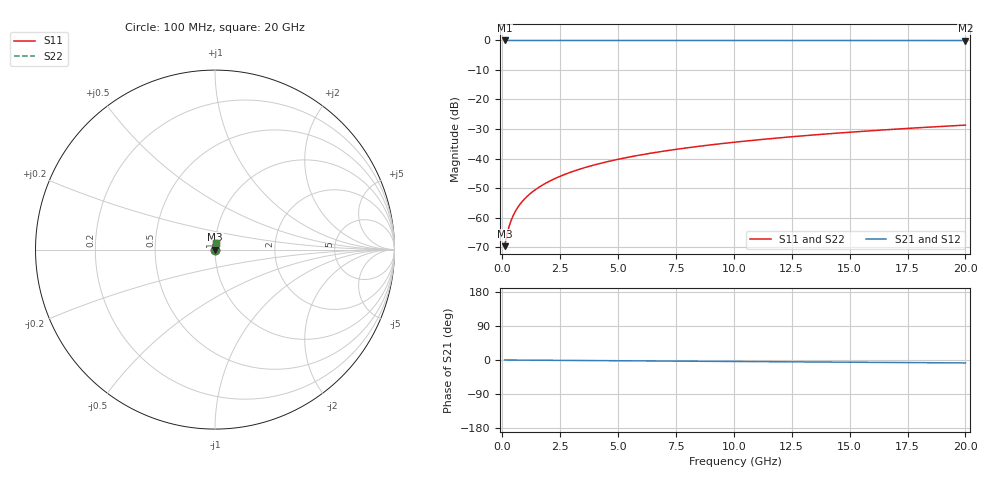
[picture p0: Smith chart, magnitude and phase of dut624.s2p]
! Touchstone file exported from HFSS 2026.1.0
!  File:  C:/ffzhzh/LocalFiles/Ansys_Project_Files/temp_train_TSV_624_1783026002_51716.aedt
!  Generated:  05:02:22 AM Jul  3, 2026
!  Design:  TSV
!  Project:  temp_train_TSV_624_1783026002_51716
! Variables:
!  h_bsmrdl = 2um
!  h_ox = 20um
!  h_rdl = 5um
!  h_sub = 74.03um
!  h_tmrdl = 5um
!  h_tsv = 74.03um
!  h_via = 3um
!  l_bsmrdl = 300um
!  l_sub = 413.02um
!  l_tmrdl = 200um
!  m_sub = 200um
!  pitch = 37.87um
!  r_tsv = 6.51um
!  s_tmrdl = 10um
!  w_bsmrdl = 18um
!  w_sub = 500um
!  w_tmrdl = 12um
!  x_tsv_center1 = 206um
!  x_tsv_center2 = 524um
!  x_tsv_center3 = 736um
!  x_tsv_center4 = 1054um
!  x_tsv_center5 = 1266um
!  x_tsv_center6 = 1584um
# GHz S MA R 50.000000
! Terminal data exported
! Port[1] = TSV1_1_T1
! Port[2] = TSV1_1_T2
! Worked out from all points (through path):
!   200 points, 100 MHz to 20 GHz, reference 50 ohm
!   highest |S21| = 0.00 dB at 100 MHz (marker M1); lowest = 0.0 dB at 20 GHz (marker M2)
!   group delay of S21, straight-line fit = 1.07 ps
!   lowest |S11| = -69.7 dB at 100 MHz (marker M3), VSWR 1.00, Z = 50 + j0.0227 ohm
!   |S11| at or under -10 dB: start of sweep to end of sweep
!   |S22| runs from -69.7 to -28.7 dB; largest |S21 - S12| = 7.6e-15
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0.1  0.0003279 43.9  0.9998 -0.0  0.9998 -0.0  0.0003279 43.9
! Gamma 0 0 0 0
! Port Impedance 50 0 50 0
0.2  0.0005154 61.4  0.9998 -0.1  0.9998 -0.1  0.0005154 61.4
0.3  0.0007232 68.6  0.9997 -0.1  0.9997 -0.1  0.0007232 68.6
0.4  0.0009339 72.3  0.9997 -0.2  0.9997 -0.2  0.0009339 72.3
0.5  0.001143 74.4  0.9997 -0.2  0.9997 -0.2  0.001143 74.4
0.6  0.001348 75.8  0.9997 -0.2  0.9997 -0.2  0.001348 75.8
0.7  0.001551 76.8  0.9997 -0.3  0.9997 -0.3  0.001551 76.8
0.8  0.00175 77.6  0.9996 -0.3  0.9996 -0.3  0.00175 77.6
1  0.002143 78.8  0.9996 -0.4  0.9996 -0.4  0.002143 78.8
1.4  0.002915 80.3  0.9995 -0.6  0.9995 -0.6  0.002915 80.3
1.7  0.003489 81.1  0.9995 -0.7  0.9995 -0.7  0.003489 81.1
2  0.004062 81.7  0.9995 -0.8  0.9995 -0.8  0.004062 81.7
2.7  0.005393 82.5  0.9994 -1.1  0.9994 -1.1  0.005393 82.5
3.5  0.006905 82.9  0.9993 -1.4  0.9993 -1.4  0.006905 82.9
4.2  0.008217 83.1  0.9992 -1.7  0.9992 -1.7  0.008217 83.1
5  0.009706 83.2  0.9991 -2.0  0.9991 -2.0  0.009706 83.2
6.8  0.01302 83.1  0.9989 -2.7  0.9989 -2.7  0.01302 83.1
8.3  0.01577 82.9  0.9988 -3.2  0.9988 -3.2  0.01577 82.9
10.1  0.01904 82.5  0.9986 -3.9  0.9986 -3.9  0.01904 82.5
13.4  0.02502 81.7  0.9983 -5.2  0.9983 -5.2  0.02502 81.7
16.7  0.03095 80.8  0.998 -6.5  0.998 -6.5  0.03095 80.8
20  0.03683 79.7  0.9977 -7.7  0.9977 -7.7  0.03683 79.7
